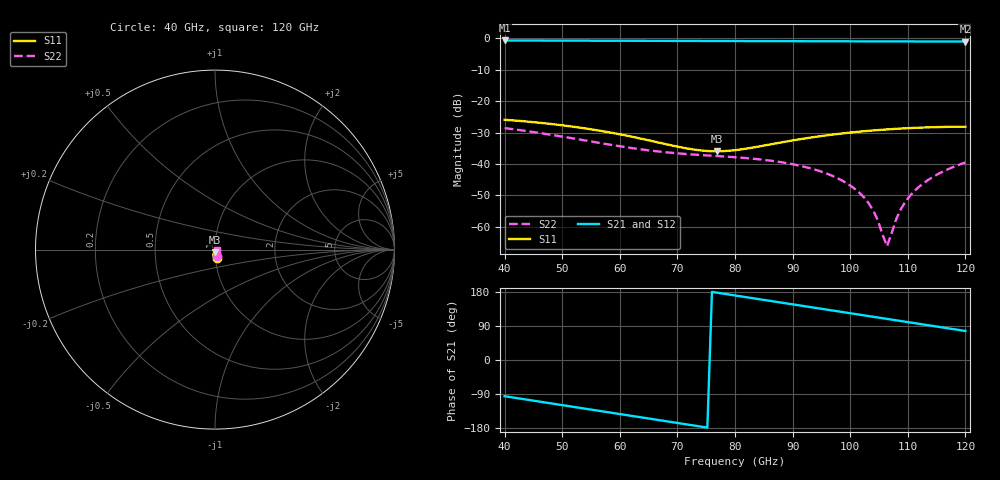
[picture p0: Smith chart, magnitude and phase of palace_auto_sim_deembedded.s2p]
! Created with skrf 1.11.0 (http://scikit-rf.org).
# GHz S DB R 50.0
!freq dBS11 angS11 dBS21 angS21 dBS12 angS12 dBS22 angS22
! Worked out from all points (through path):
!   101 points, 40 GHz to 120 GHz, reference 50 ohm
!   highest |S21| = -0.64 dB at 40 GHz (marker M1); lowest = -1.0 dB at 120 GHz (marker M2)
!   group delay of S21, straight-line fit = 6.52 ps
!   lowest |S11| = -35.9 dB at 76.8 GHz (marker M3), VSWR 1.03, Z = 50.1 - j1.6 ohm
!   |S11| at or under -10 dB: start of sweep to end of sweep
!   |S22| runs from -66.1 to -28.5 dB; largest |S21 - S12| = 1.1e-14
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40  -25.90 -77.0  -0.64 -95.5  -0.64 -95.5  -28.54 -71.3
46.4  -26.91 -89.6  -0.67 -110.6  -0.67 -110.6  -30.19 -81.4
53.6  -28.54 -101.5  -0.71 -127.5  -0.71 -127.5  -32.36 -89.3
60.8  -30.81 -109.1  -0.74 -144.5  -0.74 -144.5  -34.54 -92.4
67.2  -33.33 -108.6  -0.77 -159.6  -0.77 -159.6  -36.09 -91.8
72.8  -35.36 -98.5  -0.79 -172.7  -0.79 -172.7  -36.97 -91.3
76.8  -35.92 -86.0  -0.81 177.9  -0.81 177.9  -37.44 -92.4
80  -35.57 -76.1  -0.83 170.3  -0.83 170.3  -37.82 -94.5
88  -33.12 -63.4  -0.86 151.6  -0.86 151.6  -39.40 -103.9
93.6  -31.43 -63.0  -0.89 138.4  -0.89 138.4  -41.61 -113.2
98.4  -30.29 -65.4  -0.91 127.2  -0.91 127.2  -45.05 -121.6
100.8  -29.82 -67.1  -0.92 121.6  -0.92 121.6  -47.88 -125.0
102.4  -29.54 -68.4  -0.93 117.8  -0.93 117.8  -50.62 -126.0
104  -29.29 -69.8  -0.93 114.1  -0.93 114.1  -54.77 -123.7
104.8  -29.18 -70.5  -0.94 112.2  -0.94 112.2  -57.91 -118.5
106.4  -28.96 -71.9  -0.94 108.4  -0.94 108.4  -66.13 -52.4
107.2  -28.87 -72.7  -0.94 106.6  -0.94 106.6  -61.93 -5.1
108  -28.78 -73.4  -0.95 104.7  -0.95 104.7  -57.47 9.4
108.8  -28.69 -74.2  -0.95 102.8  -0.95 102.8  -54.31 14.2
111.2  -28.47 -76.5  -0.96 97.2  -0.96 97.2  -48.48 15.6
115.2  -28.22 -80.4  -0.97 87.8  -0.97 87.8  -43.23 8.9
120  -28.11 -84.9  -0.98 76.6  -0.98 76.6  -39.50 -2.0
